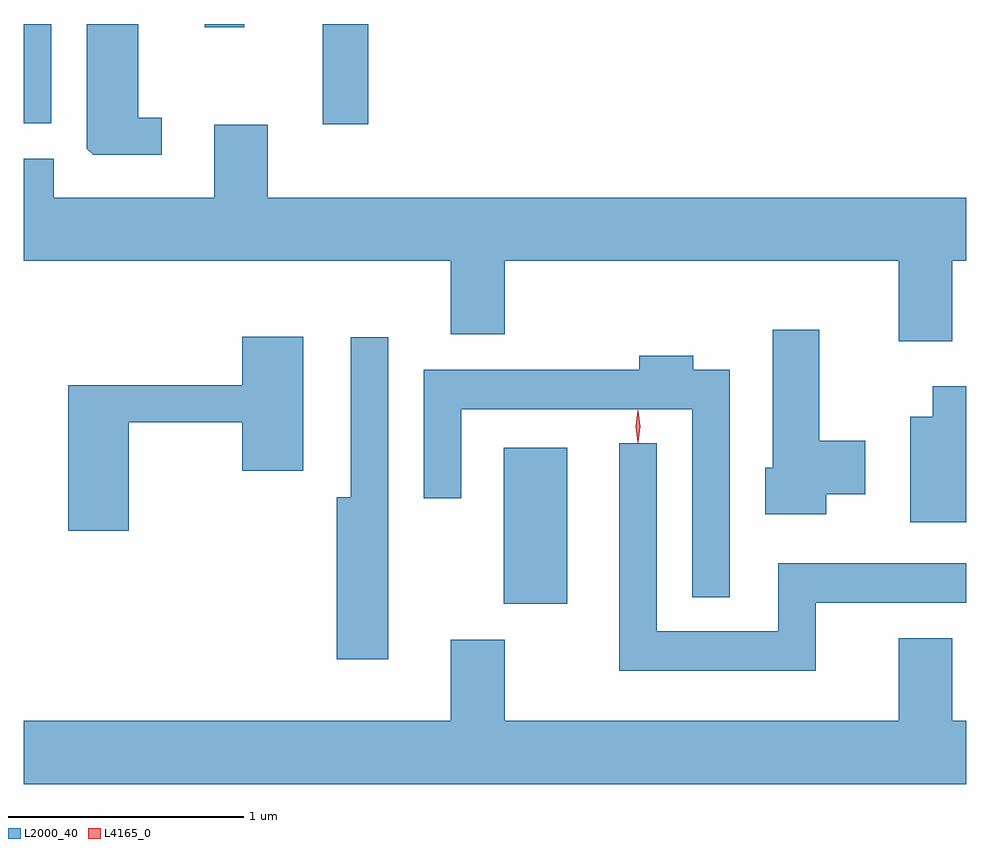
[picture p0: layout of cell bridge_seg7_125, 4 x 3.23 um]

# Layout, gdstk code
import gdstk
lib = gdstk.Library(unit=1e-6, precision=1e-09)
def R(c, l, rs):  # rectangles x0, y0, x1, y1
    for r in rs: c.add(gdstk.rectangle(r[:2], r[2:], *l))
def P(c, l, *ps):  # polygons
    for p in ps: c.add(gdstk.Polygon(p, *l))
L2000_40 = (2000, 40)
L4165_0 = (4165, 0)

bridge_seg7_125 = lib.new_cell('bridge_seg7_125')
R(bridge_seg7_125, L2000_40, [(1556.146,1803.881,1556.414,1804.544), (1555.376,1805.916,1555.569,1806.342), (1554.108,1805.921,1554.224,1806.342), (1554.876,1806.328,1555.044,1806.342)])
P(bridge_seg7_125, L2000_40, [(1554.693,1805.944),(1554.594,1805.944),(1554.594,1806.342),(1554.376,1806.342),(1554.376,1805.812),(1554.402,1805.786),(1554.693,1805.786)],
  [(1558.049,1805.336),(1558.108,1805.336),(1558.108,1805.604),(1555.144,1805.604),(1555.144,1805.914),(1554.916,1805.914),(1554.916,1805.604),(1554.234,1805.604),(1554.234,1805.769),(1554.108,1805.769),(1554.108,1805.336),(1555.921,1805.336),(1555.921,1805.026),(1556.149,1805.026),(1556.149,1805.336),(1557.821,1805.336),(1557.821,1804.996),(1558.049,1804.996)],
  [(1557.514,1804.346),(1557.679,1804.346),(1557.679,1804.574),(1557.484,1804.574),(1557.484,1805.044),(1557.286,1805.044),(1557.286,1804.459),(1557.256,1804.459),(1557.256,1804.261),(1557.514,1804.261)],
  [(1554.554,1804.651),(1555.036,1804.651),(1555.036,1804.446),(1555.294,1804.446),(1555.294,1805.014),(1555.036,1805.014),(1555.036,1804.809),(1554.296,1804.809),(1554.296,1804.191),(1554.554,1804.191)],
  [(1555.654,1805.013),(1555.496,1805.013),(1555.496,1804.334),(1555.436,1804.334),(1555.436,1803.646),(1555.654,1803.646)],
  [(1557.104,1804.874),(1556.949,1804.874),(1556.949,1804.934),(1556.721,1804.934),(1556.721,1804.874),(1555.806,1804.874),(1555.806,1804.328),(1555.964,1804.328),(1555.964,1804.706),(1556.946,1804.706),(1556.946,1803.908),(1557.104,1803.908)],
  [(1558.108,1804.804),(1557.966,1804.804),(1557.966,1804.674),(1557.871,1804.674),(1557.871,1804.226),(1558.108,1804.226)],
  [(1557.469,1803.886),(1558.108,1803.886),(1558.108,1804.054),(1557.311,1804.054),(1557.311,1803.764),(1556.794,1803.764),(1556.794,1804.563),(1556.636,1804.563),(1556.636,1803.596),(1557.469,1803.596)],
  [(1558.108,1803.384),(1558.049,1803.384),(1558.049,1803.734),(1557.821,1803.734),(1557.821,1803.384),(1556.149,1803.384),(1556.149,1803.729),(1555.921,1803.729),(1555.921,1803.384),(1554.108,1803.384),(1554.108,1803.116),(1558.108,1803.116)])
P(bridge_seg7_125, L4165_0, [(1556.715,1804.563),(1556.714,1804.564),(1556.705,1804.633),(1556.714,1804.702),(1556.715,1804.703),(1556.715,1804.702),(1556.725,1804.633),(1556.715,1804.564)],
  [(1556.715,1804.567),(1556.714,1804.568),(1556.705,1804.634),(1556.714,1804.7),(1556.715,1804.701),(1556.715,1804.7),(1556.725,1804.634),(1556.715,1804.568)])

lib.write_gds('bridge_seg7_125.gds')
